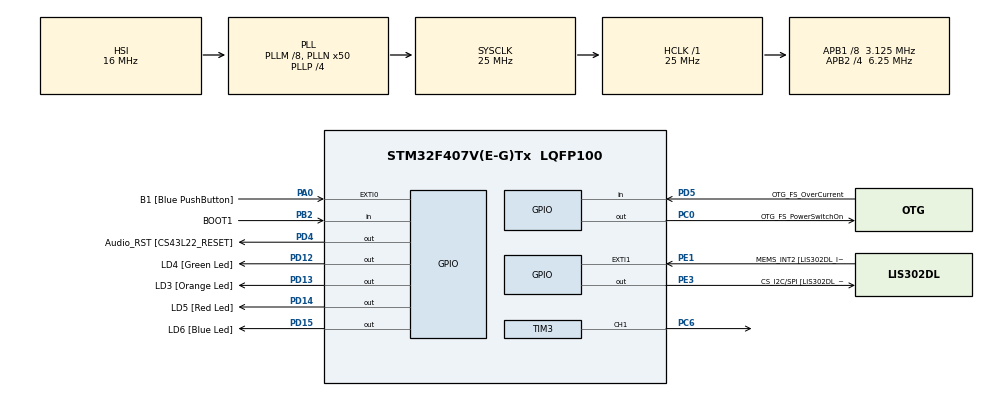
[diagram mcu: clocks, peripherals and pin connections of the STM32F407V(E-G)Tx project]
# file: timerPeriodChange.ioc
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Mcu.Family=STM32F4
Mcu.Name=STM32F407V(E-G)Tx
Mcu.Package=LQFP100
NVIC.PriorityGroup=NVIC_PRIORITYGROUP_0
PA0-WKUP.GPIO_Label=B1 [Blue PushButton]
PA0-WKUP.GPIO_ModeDefaultEXTI=GPIO_MODE_EVT_RISING
PA0-WKUP.GPIO_PuPd=GPIO_NOPULL
PA0-WKUP.Signal=GPXTI0
PA10.GPIO_Label=OTG_FS_ID
PA10.GPIO_Mode=GPIO_MODE_AF_PP
PA10.GPIO_PuPd=GPIO_NOPULL
PA10.GPIO_Speed=GPIO_SPEED_FREQ_LOW
PA10.Signal=USB_OTG_FS_ID
PA11.GPIO_Label=OTG_FS_DM
PA11.GPIO_Mode=GPIO_MODE_AF_PP
PA11.GPIO_PuPd=GPIO_NOPULL
PA11.GPIO_Speed=GPIO_SPEED_FREQ_LOW
PA11.Signal=USB_OTG_FS_DM
PA12.GPIO_Label=OTG_FS_DP
PA12.GPIO_Mode=GPIO_MODE_AF_PP
PA12.GPIO_PuPd=GPIO_NOPULL
PA12.GPIO_Speed=GPIO_SPEED_FREQ_LOW
PA12.Signal=USB_OTG_FS_DP
PA13.GPIO_Label=SWDIO
PA13.Signal=SYS_JTMS-SWDIO
PA14.GPIO_Label=SWCLK
PA14.Signal=SYS_JTCK-SWCLK
PA4.GPIO_Label=I2S3_WS [CS43L22_LRCK]
PA4.GPIO_Mode=GPIO_MODE_AF_PP
PA4.GPIO_PuPd=GPIO_NOPULL
PA4.GPIO_Speed=GPIO_SPEED_FREQ_LOW
PA4.Signal=I2S3_WS
PA5.GPIO_Label=SPI1_SCK [LIS302DL_SCL/SPC]
PA5.GPIO_Mode=GPIO_MODE_AF_PP
PA5.GPIO_PuPd=GPIO_NOPULL
PA5.GPIO_Speed=GPIO_SPEED_FREQ_LOW
PA5.Signal=SPI1_SCK
PA6.GPIO_Label=SPI1_MISO [LIS302DL_SDO]
PA6.GPIO_Mode=GPIO_MODE_AF_PP
PA6.GPIO_PuPd=GPIO_NOPULL
PA6.GPIO_Speed=GPIO_SPEED_FREQ_LOW
PA6.Signal=SPI1_MISO
PA7.GPIO_Label=SPI1_MOSI [LIS302DL_SDA/SDI/SDO]
PA7.GPIO_Mode=GPIO_MODE_AF_PP
PA7.GPIO_PuPd=GPIO_NOPULL
PA7.GPIO_Speed=GPIO_SPEED_FREQ_LOW
PA7.Signal=SPI1_MOSI
PA9.GPIO_Label=VBUS_FS
PA9.GPIO_Mode=GPIO_MODE_INPUT
PA9.GPIO_PuPd=GPIO_NOPULL
PA9.Signal=USB_OTG_FS_VBUS
PB10.GPIO_Label=CLK_IN [MP45DT02_CLK]
PB10.GPIO_Mode=GPIO_MODE_AF_PP
PB10.GPIO_PuPd=GPIO_NOPULL
PB10.GPIO_Speed=GPIO_SPEED_FREQ_LOW
PB10.Signal=I2S2_CK
PB2.GPIO_Label=BOOT1
PB2.GPIO_Mode=GPIO_MODE_INPUT
PB2.GPIO_PuPd=GPIO_NOPULL
PB2.Signal=GPIO_Input
PB3.GPIO_Label=SWO
PB3.Signal=SYS_JTDO-SWO
PB6.GPIO_Label=Audio_SCL [CS43L22_SCL]
PB6.GPIO_Mode=GPIO_MODE_AF_OD
PB6.GPIO_PuPd=GPIO_NOPULL
PB6.GPIO_Speed=GPIO_SPEED_FREQ_LOW
PB6.Signal=I2C1_SCL
PB9.GPIO_Label=Audio_SDA [CS43L22_SDA]
PB9.GPIO_Mode=GPIO_MODE_AF_OD
PB9.GPIO_PuPd=GPIO_NOPULL
PB9.GPIO_Speed=GPIO_SPEED_FREQ_LOW
PB9.Signal=I2C1_SDA
PC0.GPIO_Label=OTG_FS_PowerSwitchOn
PC0.GPIO_PuPd=GPIO_NOPULL
PC0.GPIO_Speed=GPIO_SPEED_FREQ_LOW
PC0.PinState=GPIO_PIN_SET
PC0.Signal=GPIO_Output
PC10.GPIO_Label=I2S3_SCK [CS43L22_SCLK]
PC10.GPIO_Mode=GPIO_MODE_AF_PP
PC10.GPIO_PuPd=GPIO_NOPULL
PC10.GPIO_Speed=GPIO_SPEED_FREQ_LOW
PC10.Signal=I2S3_CK
PC12.GPIO_Label=I2S3_SD [CS43L22_SDIN]
PC12.GPIO_Mode=GPIO_MODE_AF_PP
PC12.GPIO_PuPd=GPIO_NOPULL
PC12.GPIO_Speed=GPIO_SPEED_FREQ_LOW
PC12.Signal=I2S3_SD
PC14-OSC32_IN.GPIO_Label=PC14-OSC32_IN
PC14-OSC32_IN.Signal=RCC_OSC32_IN
PC15-OSC32_OUT.GPIO_Label=PC15-OSC32_OUT
PC15-OSC32_OUT.Signal=RCC_OSC32_OUT
PC3.GPIO_Label=PDM_OUT [MP45DT02_DOUT]
PC3.GPIO_Mode=GPIO_MODE_AF_PP
PC3.GPIO_PuPd=GPIO_NOPULL
PC3.GPIO_Speed=GPIO_SPEED_FREQ_LOW
PC3.Signal=I2S2_SD
PC6.Signal=S_TIM3_CH1
PC7.GPIO_Label=I2S3_MCK [CS43L22_MCLK]
PC7.GPIO_Mode=GPIO_MODE_AF_PP
PC7.GPIO_PuPd=GPIO_NOPULL
PC7.GPIO_Speed=GPIO_SPEED_FREQ_LOW
PC7.Signal=I2S3_MCK
PD12.GPIO_Label=LD4 [Green Led]
PD12.GPIO_PuPd=GPIO_NOPULL
PD12.GPIO_Speed=GPIO_SPEED_FREQ_LOW
PD12.Signal=GPIO_Output
PD13.GPIO_Label=LD3 [Orange Led]
PD13.GPIO_PuPd=GPIO_NOPULL
PD13.GPIO_Speed=GPIO_SPEED_FREQ_LOW
PD13.Signal=GPIO_Output
PD14.GPIO_Label=LD5 [Red Led]
PD14.GPIO_PuPd=GPIO_NOPULL
PD14.GPIO_Speed=GPIO_SPEED_FREQ_LOW
PD14.Signal=GPIO_Output
PD15.GPIO_Label=LD6 [Blue Led]
PD15.GPIO_PuPd=GPIO_NOPULL
PD15.GPIO_Speed=GPIO_SPEED_FREQ_LOW
PD15.Signal=GPIO_Output
PD4.GPIO_Label=Audio_RST [CS43L22_RESET]
PD4.GPIO_PuPd=GPIO_NOPULL
PD4.GPIO_Speed=GPIO_SPEED_FREQ_LOW
PD4.Signal=GPIO_Output
PD5.GPIO_Label=OTG_FS_OverCurrent
PD5.GPIO_Mode=GPIO_MODE_INPUT
PD5.GPIO_PuPd=GPIO_NOPULL
PD5.Signal=GPIO_Input
PE1.GPIO_Label=MEMS_INT2 [LIS302DL_INT2]
PE1.GPIO_ModeDefaultEXTI=GPIO_MODE_EVT_RISING
PE1.GPIO_PuPd=GPIO_NOPULL
PE1.Signal=GPXTI1
PE3.GPIO_Label=CS_I2C/SPI [LIS302DL_CS_I2C/SPI]
PE3.GPIO_PuPd=GPIO_NOPULL
PE3.GPIO_Speed=GPIO_SPEED_FREQ_LOW
PE3.Signal=GPIO_Output
PH0-OSC_IN.GPIO_Label=PH0-OSC_IN
PH0-OSC_IN.Signal=RCC_OSC_IN
PH1-OSC_OUT.GPIO_Label=PH1-OSC_OUT
PH1-OSC_OUT.Signal=RCC_OSC_OUT
ProjectManager.HeapSize=0x200
ProjectManager.StackSize=0x400
ProjectManager.TargetToolchain=EWARM
RCC.48MHZClocksFreq_Value=14285714.285714285
RCC.AHBFreq_Value=25000000
RCC.APB1CLKDivider=RCC_HCLK_DIV8
RCC.APB1Freq_Value=3125000
RCC.APB1TimFreq_Value=6250000
RCC.APB2CLKDivider=RCC_HCLK_DIV4
RCC.APB2Freq_Value=6250000
RCC.APB2TimFreq_Value=12500000
RCC.CortexFreq_Value=25000000
RCC.HCLKFreq_Value=25000000
RCC.HSE_VALUE=8000000
RCC.HSI_VALUE=16000000
RCC.LSE_VALUE=32768
RCC.PLLM=8
RCC.PLLN=50
RCC.PLLP=RCC_PLLP_DIV4
RCC.PLLQ=7
RCC.SYSCLKFreq_VALUE=25000000
RCC.SYSCLKSource=RCC_SYSCLKSOURCE_PLLCLK
RCC.VCOOutputFreq_Value=100000000
SH.S_TIM3_CH1.0=TIM3_CH1,PWM Generation1 CH1
TIM3.Channel-PWM\ Generation1\ CH1=TIM_CHANNEL_1
TIM3.Period=99
TIM3.Prescaler=8499
VP_TIM3_VS_ClockSourceINT.Mode=Internal
board=STM32F4DISCOVERY

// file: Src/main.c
/**
  ******************************************************************************
  * File Name          : main.c
  * Description        : Main program body
  ******************************************************************************
  ** This notice applies to any and all portions of this file
  * that are not between comment pairs USER CODE BEGIN and
  * USER CODE END. Other portions of this file, whether
  * inserted by the user or by software development tools
  * are owned by their respective copyright owners.
  *
  * COPYRIGHT(c) 2017 STMicroelectronics
  *
  * Redistribution and use in source and binary forms, with or without modification,
  * are permitted provided that the following conditions are met:
  *   1. Redistributions of source code must retain the above copyright notice,
  *      this list of conditions and the following disclaimer.
  *   2. Redistributions in binary form must reproduce the above copyright notice,
  *      this list of conditions and the following disclaimer in the documentation
  *      and/or other materials provided with the distribution.
  *   3. Neither the name of STMicroelectronics nor the names of its contributors
  *      may be used to endorse or promote products derived from this software
  *      without specific prior written permission.
  *
  * THIS SOFTWARE IS PROVIDED BY THE COPYRIGHT HOLDERS AND CONTRIBUTORS "AS IS"
  * AND ANY EXPRESS OR IMPLIED WARRANTIES, INCLUDING, BUT NOT LIMITED TO, THE
  * IMPLIED WARRANTIES OF MERCHANTABILITY AND FITNESS FOR A PARTICULAR PURPOSE ARE
  * DISCLAIMED. IN NO EVENT SHALL THE COPYRIGHT HOLDER OR CONTRIBUTORS BE LIABLE
  * FOR ANY DIRECT, INDIRECT, INCIDENTAL, SPECIAL, EXEMPLARY, OR CONSEQUENTIAL
  * DAMAGES (INCLUDING, BUT NOT LIMITED TO, PROCUREMENT OF SUBSTITUTE GOODS OR
  * SERVICES; LOSS OF USE, DATA, OR PROFITS; OR BUSINESS INTERRUPTION) HOWEVER
  * CAUSED AND ON ANY THEORY OF LIABILITY, WHETHER IN CONTRACT, STRICT LIABILITY,
  * OR TORT (INCLUDING NEGLIGENCE OR OTHERWISE) ARISING IN ANY WAY OUT OF THE USE
  * OF THIS SOFTWARE, EVEN IF ADVISED OF THE POSSIBILITY OF SUCH DAMAGE.
  *
  ******************************************************************************
  */
#include "main.h"
#include "stm32f4xx_hal.h"

TIM_HandleTypeDef htim3;

/* USER CODE BEGIN PV */
/* Private variables ---------------------------------------------------------*/
int i;
/* USER CODE END PV */

void SystemClock_Config(void);
static void MX_GPIO_Init(void);
static void MX_TIM3_Init(void);
void HAL_TIM_MspPostInit(TIM_HandleTypeDef *htim);

/* USER CODE BEGIN PFP */
/* Private function prototypes -----------------------------------------------*/

/* USER CODE END PFP */

int main(void)
{

  /* MCU Configuration----------------------------------------------------------*/

  /* Reset of all peripherals, Initializes the Flash interface and the Systick. */
  HAL_Init();

  /* Configure the system clock */
  SystemClock_Config();

  /* Initialize all configured peripherals */
  MX_GPIO_Init();
  MX_TIM3_Init();

  /* USER CODE BEGIN 2 */
  __HAL_TIM_SET_COMPARE(&htim3, TIM_CHANNEL_1, 25);
  HAL_TIM_PWM_Start(&htim3, TIM_CHANNEL_1);
  /* USER CODE END 2 */

  /* Infinite loop */
  /* USER CODE BEGIN WHILE */
  while (1)
  {
  for(i=0; i<10000000; i++){}
  htim3.Init.Prescaler = 1200;
  __HAL_TIM_SET_COMPARE(&htim3, TIM_CHANNEL_1, 50);
  if (HAL_TIM_Base_Init(&htim3) != HAL_OK)
  {
    _Error_Handler(__FILE__, __LINE__);
  }
  HAL_GPIO_TogglePin(LD3_GPIO_Port, LD3_Pin);
  for(i=0; i<10000000; i++){}
  htim3.Init.Prescaler = 8499;
  __HAL_TIM_SET_COMPARE(&htim3, TIM_CHANNEL_1, 25);
  if (HAL_TIM_Base_Init(&htim3) != HAL_OK)
  {
    _Error_Handler(__FILE__, __LINE__);
  }
  HAL_GPIO_TogglePin(LD3_GPIO_Port, LD3_Pin);
  /* USER CODE END WHILE */

  }

}

/** System Clock Configuration
*/
void SystemClock_Config(void)
{

  RCC_OscInitTypeDef RCC_OscInitStruct;
  RCC_ClkInitTypeDef RCC_ClkInitStruct;

    /**Configure the main internal regulator output voltage
    */
  __HAL_RCC_PWR_CLK_ENABLE();

  __HAL_PWR_VOLTAGESCALING_CONFIG(PWR_REGULATOR_VOLTAGE_SCALE1);

    /**Initializes the CPU, AHB and APB busses clocks
    */
  RCC_OscInitStruct.OscillatorType = RCC_OSCILLATORTYPE_HSI;
  RCC_OscInitStruct.HSIState = RCC_HSI_ON;
  RCC_OscInitStruct.HSICalibrationValue = 16;
  RCC_OscInitStruct.PLL.PLLState = RCC_PLL_ON;
  RCC_OscInitStruct.PLL.PLLSource = RCC_PLLSOURCE_HSI;
  RCC_OscInitStruct.PLL.PLLM = 8;
  RCC_OscInitStruct.PLL.PLLN = 50;
  RCC_OscInitStruct.PLL.PLLP = RCC_PLLP_DIV4;
  RCC_OscInitStruct.PLL.PLLQ = 7;
  if (HAL_RCC_OscConfig(&RCC_OscInitStruct) != HAL_OK)
  {
    _Error_Handler(__FILE__, __LINE__);
  }

    /**Initializes the CPU, AHB and APB busses clocks
    */
  RCC_ClkInitStruct.ClockType = RCC_CLOCKTYPE_HCLK|RCC_CLOCKTYPE_SYSCLK
                              |RCC_CLOCKTYPE_PCLK1|RCC_CLOCKTYPE_PCLK2;
  RCC_ClkInitStruct.SYSCLKSource = RCC_SYSCLKSOURCE_PLLCLK;
  RCC_ClkInitStruct.AHBCLKDivider = RCC_SYSCLK_DIV1;
  RCC_ClkInitStruct.APB1CLKDivider = RCC_HCLK_DIV8;
  RCC_ClkInitStruct.APB2CLKDivider = RCC_HCLK_DIV4;

  if (HAL_RCC_ClockConfig(&RCC_ClkInitStruct, FLASH_LATENCY_0) != HAL_OK)
  {
    _Error_Handler(__FILE__, __LINE__);
  }

    /**Configure the Systick interrupt time
    */
  HAL_SYSTICK_Config(HAL_RCC_GetHCLKFreq()/1000);

    /**Configure the Systick
    */
  HAL_SYSTICK_CLKSourceConfig(SYSTICK_CLKSOURCE_HCLK);

  /* SysTick_IRQn interrupt configuration */
  HAL_NVIC_SetPriority(SysTick_IRQn, 0, 0);
}

/* TIM3 init function */
static void MX_TIM3_Init(void)
{

  TIM_ClockConfigTypeDef sClockSourceConfig;
  TIM_MasterConfigTypeDef sMasterConfig;
  TIM_OC_InitTypeDef sConfigOC;

  htim3.Instance = TIM3;
  htim3.Init.Prescaler = 8499;
  htim3.Init.CounterMode = TIM_COUNTERMODE_UP;
  htim3.Init.Period = 99;
  htim3.Init.ClockDivision = TIM_CLOCKDIVISION_DIV1;
  if (HAL_TIM_Base_Init(&htim3) != HAL_OK)
  {
    _Error_Handler(__FILE__, __LINE__);
  }

  sClockSourceConfig.ClockSource = TIM_CLOCKSOURCE_INTERNAL;
  if (HAL_TIM_ConfigClockSource(&htim3, &sClockSourceConfig) != HAL_OK)
  {
    _Error_Handler(__FILE__, __LINE__);
  }

  if (HAL_TIM_PWM_Init(&htim3) != HAL_OK)
  {
    _Error_Handler(__FILE__, __LINE__);
  }

  sMasterConfig.MasterOutputTrigger = TIM_TRGO_RESET;
  sMasterConfig.MasterSlaveMode = TIM_MASTERSLAVEMODE_DISABLE;
  if (HAL_TIMEx_MasterConfigSynchronization(&htim3, &sMasterConfig) != HAL_OK)
  {
    _Error_Handler(__FILE__, __LINE__);
  }

  sConfigOC.OCMode = TIM_OCMODE_PWM1;
  sConfigOC.Pulse = 0;
  sConfigOC.OCPolarity = TIM_OCPOLARITY_HIGH;
  sConfigOC.OCFastMode = TIM_OCFAST_DISABLE;
  if (HAL_TIM_PWM_ConfigChannel(&htim3, &sConfigOC, TIM_CHANNEL_1) != HAL_OK)
  {
    _Error_Handler(__FILE__, __LINE__);
  }

  HAL_TIM_MspPostInit(&htim3);

}

/** Configure pins as
        * Analog
        * Input
        * Output
        * EVENT_OUT
        * EXTI
     PC3   ------> I2S2_SD
     PA4   ------> I2S3_WS
     PA5   ------> SPI1_SCK
     PA6   ------> SPI1_MISO
     PA7   ------> SPI1_MOSI
     PB10   ------> I2S2_CK
     PC7   ------> I2S3_MCK
     PA9   ------> USB_OTG_FS_VBUS
     PA10   ------> USB_OTG_FS_ID
     PA11   ------> USB_OTG_FS_DM
     PA12   ------> USB_OTG_FS_DP
     PC10   ------> I2S3_CK
     PC12   ------> I2S3_SD
     PB6   ------> I2C1_SCL
     PB9   ------> I2C1_SDA
*/
static void MX_GPIO_Init(void)
{

  GPIO_InitTypeDef GPIO_InitStruct;

  /* GPIO Ports Clock Enable */
  __HAL_RCC_GPIOE_CLK_ENABLE();
  __HAL_RCC_GPIOC_CLK_ENABLE();
  __HAL_RCC_GPIOH_CLK_ENABLE();
  __HAL_RCC_GPIOA_CLK_ENABLE();
  __HAL_RCC_GPIOB_CLK_ENABLE();
  __HAL_RCC_GPIOD_CLK_ENABLE();

  /*Configure GPIO pin Output Level */
  HAL_GPIO_WritePin(CS_I2C_SPI_GPIO_Port, CS_I2C_SPI_Pin, GPIO_PIN_RESET);

  /*Configure GPIO pin Output Level */
  HAL_GPIO_WritePin(OTG_FS_PowerSwitchOn_GPIO_Port, OTG_FS_PowerSwitchOn_Pin, GPIO_PIN_SET);

  /*Configure GPIO pin Output Level */
  HAL_GPIO_WritePin(GPIOD, LD4_Pin|LD3_Pin|LD5_Pin|LD6_Pin
                          |Audio_RST_Pin, GPIO_PIN_RESET);

  /*Configure GPIO pin : CS_I2C_SPI_Pin */
  GPIO_InitStruct.Pin = CS_I2C_SPI_Pin;
  GPIO_InitStruct.Mode = GPIO_MODE_OUTPUT_PP;
  GPIO_InitStruct.Pull = GPIO_NOPULL;
  GPIO_InitStruct.Speed = GPIO_SPEED_FREQ_LOW;
  HAL_GPIO_Init(CS_I2C_SPI_GPIO_Port, &GPIO_InitStruct);

  /*Configure GPIO pin : OTG_FS_PowerSwitchOn_Pin */
  GPIO_InitStruct.Pin = OTG_FS_PowerSwitchOn_Pin;
  GPIO_InitStruct.Mode = GPIO_MODE_OUTPUT_PP;
  GPIO_InitStruct.Pull = GPIO_NOPULL;
  GPIO_InitStruct.Speed = GPIO_SPEED_FREQ_LOW;
  HAL_GPIO_Init(OTG_FS_PowerSwitchOn_GPIO_Port, &GPIO_InitStruct);

  /*Configure GPIO pin : PDM_OUT_Pin */
  GPIO_InitStruct.Pin = PDM_OUT_Pin;
  GPIO_InitStruct.Mode = GPIO_MODE_AF_PP;
  GPIO_InitStruct.Pull = GPIO_NOPULL;
  GPIO_InitStruct.Speed = GPIO_SPEED_FREQ_LOW;
  GPIO_InitStruct.Alternate = GPIO_AF5_SPI2;
  HAL_GPIO_Init(PDM_OUT_GPIO_Port, &GPIO_InitStruct);

  /*Configure GPIO pin : B1_Pin */
  GPIO_InitStruct.Pin = B1_Pin;
  GPIO_InitStruct.Mode = GPIO_MODE_EVT_RISING;
  GPIO_InitStruct.Pull = GPIO_NOPULL;
  HAL_GPIO_Init(B1_GPIO_Port, &GPIO_InitStruct);

  /*Configure GPIO pin : I2S3_WS_Pin */
  GPIO_InitStruct.Pin = I2S3_WS_Pin;
  GPIO_InitStruct.Mode = GPIO_MODE_AF_PP;
  GPIO_InitStruct.Pull = GPIO_NOPULL;
  GPIO_InitStruct.Speed = GPIO_SPEED_FREQ_LOW;
  GPIO_InitStruct.Alternate = GPIO_AF6_SPI3;
  HAL_GPIO_Init(I2S3_WS_GPIO_Port, &GPIO_InitStruct);

  /*Configure GPIO pins : SPI1_SCK_Pin SPI1_MISO_Pin SPI1_MOSI_Pin */
  GPIO_InitStruct.Pin = SPI1_SCK_Pin|SPI1_MISO_Pin|SPI1_MOSI_Pin;
  GPIO_InitStruct.Mode = GPIO_MODE_AF_PP;
  GPIO_InitStruct.Pull = GPIO_NOPULL;
  GPIO_InitStruct.Speed = GPIO_SPEED_FREQ_LOW;
  GPIO_InitStruct.Alternate = GPIO_AF5_SPI1;
  HAL_GPIO_Init(GPIOA, &GPIO_InitStruct);

  /*Configure GPIO pin : BOOT1_Pin */
  GPIO_InitStruct.Pin = BOOT1_Pin;
  GPIO_InitStruct.Mode = GPIO_MODE_INPUT;
  GPIO_InitStruct.Pull = GPIO_NOPULL;
  HAL_GPIO_Init(BOOT1_GPIO_Port, &GPIO_InitStruct);

  /*Configure GPIO pin : CLK_IN_Pin */
  GPIO_InitStruct.Pin = CLK_IN_Pin;
  GPIO_InitStruct.Mode = GPIO_MODE_AF_PP;
  GPIO_InitStruct.Pull = GPIO_NOPULL;
  GPIO_InitStruct.Speed = GPIO_SPEED_FREQ_LOW;
  GPIO_InitStruct.Alternate = GPIO_AF5_SPI2;
  HAL_GPIO_Init(CLK_IN_GPIO_Port, &GPIO_InitStruct);

  /*Configure GPIO pins : LD4_Pin LD3_Pin LD5_Pin LD6_Pin
                           Audio_RST_Pin */
  GPIO_InitStruct.Pin = LD4_Pin|LD3_Pin|LD5_Pin|LD6_Pin
                          |Audio_RST_Pin;
  GPIO_InitStruct.Mode = GPIO_MODE_OUTPUT_PP;
  GPIO_InitStruct.Pull = GPIO_NOPULL;
  GPIO_InitStruct.Speed = GPIO_SPEED_FREQ_LOW;
  HAL_GPIO_Init(GPIOD, &GPIO_InitStruct);

  /*Configure GPIO pins : I2S3_MCK_Pin I2S3_SCK_Pin I2S3_SD_Pin */
  GPIO_InitStruct.Pin = I2S3_MCK_Pin|I2S3_SCK_Pin|I2S3_SD_Pin;
  GPIO_InitStruct.Mode = GPIO_MODE_AF_PP;
  GPIO_InitStruct.Pull = GPIO_NOPULL;
  GPIO_InitStruct.Speed = GPIO_SPEED_FREQ_LOW;
  GPIO_InitStruct.Alternate = GPIO_AF6_SPI3;
  HAL_GPIO_Init(GPIOC, &GPIO_InitStruct);

  /*Configure GPIO pin : VBUS_FS_Pin */
  GPIO_InitStruct.Pin = VBUS_FS_Pin;
  GPIO_InitStruct.Mode = GPIO_MODE_INPUT;
  GPIO_InitStruct.Pull = GPIO_NOPULL;
  HAL_GPIO_Init(VBUS_FS_GPIO_Port, &GPIO_InitStruct);

  /*Configure GPIO pins : OTG_FS_ID_Pin OTG_FS_DM_Pin OTG_FS_DP_Pin */
  GPIO_InitStruct.Pin = OTG_FS_ID_Pin|OTG_FS_DM_Pin|OTG_FS_DP_Pin;
  GPIO_InitStruct.Mode = GPIO_MODE_AF_PP;
  GPIO_InitStruct.Pull = GPIO_NOPULL;
  GPIO_InitStruct.Speed = GPIO_SPEED_FREQ_LOW;
  GPIO_InitStruct.Alternate = GPIO_AF10_OTG_FS;
  HAL_GPIO_Init(GPIOA, &GPIO_InitStruct);

  /*Configure GPIO pin : OTG_FS_OverCurrent_Pin */
  GPIO_InitStruct.Pin = OTG_FS_OverCurrent_Pin;
  GPIO_InitStruct.Mode = GPIO_MODE_INPUT;
  GPIO_InitStruct.Pull = GPIO_NOPULL;
  HAL_GPIO_Init(OTG_FS_OverCurrent_GPIO_Port, &GPIO_InitStruct);

  /*Configure GPIO pins : Audio_SCL_Pin Audio_SDA_Pin */
  GPIO_InitStruct.Pin = Audio_SCL_Pin|Audio_SDA_Pin;
  GPIO_InitStruct.Mode = GPIO_MODE_AF_OD;
  GPIO_InitStruct.Pull = GPIO_PULLUP;
  GPIO_InitStruct.Speed = GPIO_SPEED_FREQ_LOW;
  GPIO_InitStruct.Alternate = GPIO_AF4_I2C1;
  HAL_GPIO_Init(GPIOB, &GPIO_InitStruct);

  /*Configure GPIO pin : MEMS_INT2_Pin */
  GPIO_InitStruct.Pin = MEMS_INT2_Pin;
  GPIO_InitStruct.Mode = GPIO_MODE_EVT_RISING;
  GPIO_InitStruct.Pull = GPIO_NOPULL;
  HAL_GPIO_Init(MEMS_INT2_GPIO_Port, &GPIO_InitStruct);

}

void _Error_Handler(char * file, int line)
{
  while(1)
  {
  }
}

/************************ (C) COPYRIGHT STMicroelectronics *****END OF FILE****/
